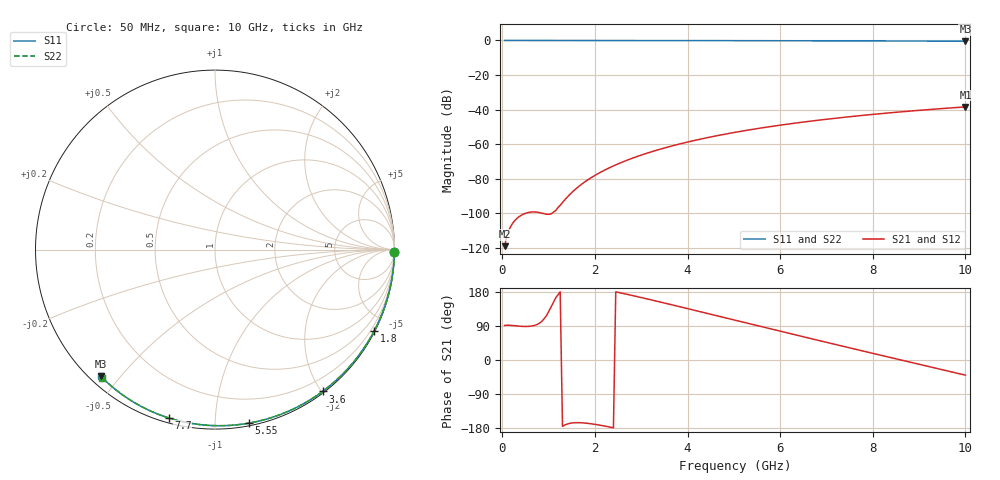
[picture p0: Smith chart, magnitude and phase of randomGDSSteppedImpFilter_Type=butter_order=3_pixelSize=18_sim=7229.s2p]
! freq	dB(S11)	phase(S11)	dB(S12)	phase(S12)
!  dB(S21)	phase(S21)	dB(S22)	phase(S22)
!S-par simulation data
#  GHz  S  DB  R 50
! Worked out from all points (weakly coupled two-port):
!   200 points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, 50 MHz to 10 GHz, reference 50 ohm
!   highest |S21| = -38.46 dB at 10 GHz (marker M1); lowest = -119.1 dB at 50 MHz (marker M2)
!   lowest |S11| = -0.4 dB at 10 GHz (marker M3), VSWR 39.20, Z = 1.53 - j22.3 ohm
!   |S11| at or under -10 dB: nowhere
!   |S22| runs from -0.4 to 0.0 dB; largest |S21 - S12| = 0
!   S11 on the Smith chart (normalised r, x): 50 MHz: open; 1.8 GHz: 0.04, -4.16; 3.6 GHz: 0.02, -2.01; 5.55 GHz: 0.02, -1.21; 7.7 GHz: 0.02, -0.76; 10 GHz: 0.03, -0.45
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0.05  -0.00 -0.8  -119.06 91.2  -119.06 91.2  -0.00 -0.8
0.9  -0.02 -13.6  -100.30 108.4  -100.30 108.4  -0.02 -13.6
1.75  -0.03 -26.3  -82.46 -166.0  -82.46 -166.0  -0.03 -26.2
1.8  -0.03 -27.0  -81.50 -166.6  -81.50 -166.6  -0.03 -26.9
1.85  -0.04 -27.8  -80.60 -167.2  -80.60 -167.2  -0.04 -27.7
1.9  -0.04 -28.5  -79.73 -168.0  -79.73 -168.0  -0.04 -28.4
2.05  -0.04 -30.7  -77.33 -170.8  -77.33 -170.8  -0.04 -30.6
2.25  -0.04 -33.6  -74.49 -175.2  -74.49 -175.2  -0.04 -33.5
2.45  -0.05 -36.5  -72.00 179.8  -72.00 179.8  -0.05 -36.4
2.65  -0.05 -39.4  -69.76 174.6  -69.76 174.6  -0.05 -39.3
3  -0.06 -44.4  -66.34 164.8  -66.34 164.8  -0.06 -44.3
3.4  -0.07 -50.0  -62.99 153.3  -62.99 153.3  -0.07 -49.9
3.6  -0.07 -52.8  -61.50 147.5  -61.50 147.5  -0.07 -52.7
4.3  -0.09 -62.4  -56.98 126.8  -56.98 126.8  -0.09 -62.2
5.05  -0.11 -72.4  -53.05 104.4  -53.05 104.4  -0.11 -72.2
5.55  -0.13 -78.9  -50.82 89.5  -50.82 89.5  -0.13 -78.7
6.1  -0.15 -85.9  -48.65 73.1  -48.65 73.1  -0.15 -85.6
6.7  -0.18 -93.4  -46.56 55.4  -46.56 55.4  -0.18 -93.0
7.7  -0.24 -105.4  -43.58 26.2  -43.58 26.2  -0.24 -105.0
8.35  -0.29 -113.0  -41.92 7.4  -41.92 7.4  -0.29 -112.6
9.15  -0.36 -122.3  -40.12 -15.5  -40.12 -15.5  -0.36 -121.8
10  -0.44 -132.0  -38.46 -40.0  -38.46 -40.0  -0.44 -131.4
